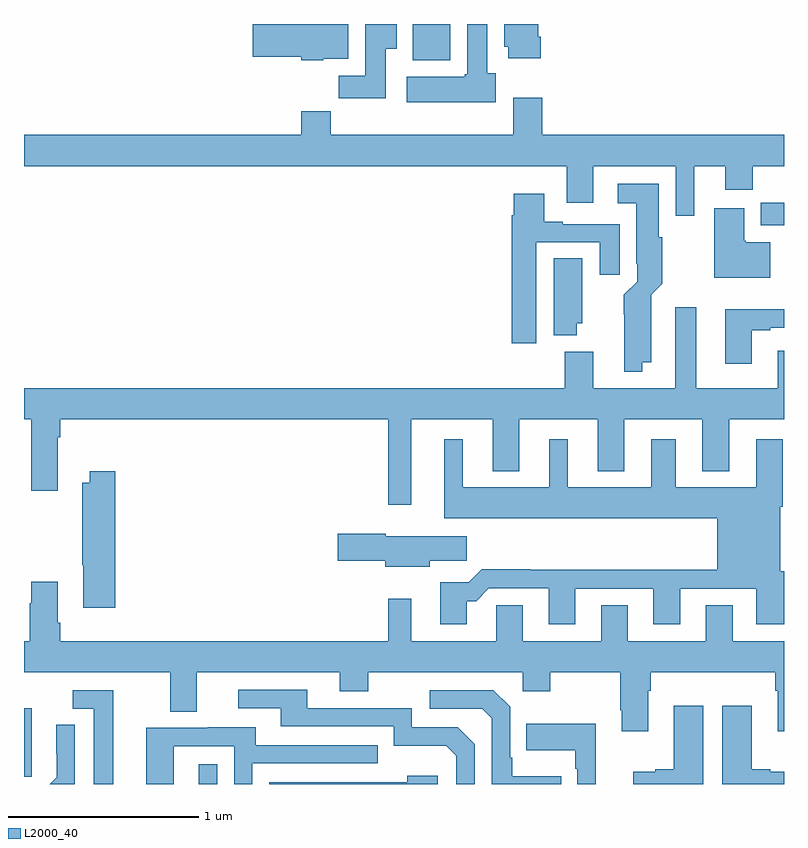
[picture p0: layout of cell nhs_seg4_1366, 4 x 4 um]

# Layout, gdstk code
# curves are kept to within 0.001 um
import gdstk
lib = gdstk.Library(unit=1e-6, precision=1e-09)
def R(c, l, rs):  # rectangles x0, y0, x1, y1
    for r in rs: c.add(gdstk.rectangle(r[:2], r[2:], *l))
def P(c, l, *ps):  # polygons
    for p in ps: c.add(gdstk.Polygon(p, *l))
L2000_40 = (2000, 40)

nhs_seg4_1366 = lib.new_cell('nhs_seg4_1366')
R(nhs_seg4_1366, L2000_40, [(181.919,794.9,182.016,795.004), (181,794.937,181.042,795.298), (184.877,797.84,185,797.958), (183.047,798.71,183.244,798.9)])
P(nhs_seg4_1366, L2000_40, [(183.484,798.642),(183.439,798.642),(183.439,798.9),(183.332,798.9),(183.332,798.636),(183.319,798.636),(183.319,798.622),(183.015,798.622),(183.015,798.488),(183.484,798.488)],
  [(182.905,798.769),(182.962,798.769),(182.962,798.9),(182.795,798.9),(182.795,798.628),(182.656,798.628),(182.656,798.51),(182.905,798.51)],
  [(183.719,798.832),(183.706,798.832),(183.706,798.9),(183.527,798.9),(183.527,798.78),(183.548,798.78),(183.548,798.72),(183.719,798.72)],
  [(182.574,798.716),(182.707,798.716),(182.707,798.9),(182.204,798.9),(182.204,798.728),(182.46,798.728),(182.46,798.71),(182.574,798.71)],
  [(184.528,798.152),(184.691,798.152),(184.691,798.028),(184.835,798.028),(184.835,798.152),(185,798.152),(185,798.316),(183.728,798.316),(183.728,798.511),(183.575,798.511),(183.575,798.316),(182.615,798.316),(182.615,798.44),(182.459,798.44),(182.459,798.316),(181,798.316),(181,798.152),(183.857,798.152),(183.857,797.958),(183.997,797.958),(183.997,798.152),(184.431,798.152),(184.431,797.892),(184.528,797.892)],
  [(184.255,797.12),(184.3,797.12),(184.301,797.474),(184.36,797.533),(184.36,797.778),(184.342,797.778),(184.342,798.058),(184.125,798.058),(184.125,797.957),(184.223,797.957),(184.223,797.638),(184.227,797.638),(184.227,797.544),(184.157,797.474),(184.158,797.069),(184.255,797.069)],
  [(183.697,797.751),(184.031,797.751),(184.031,797.58),(184.135,797.58),(184.135,797.847),(183.835,797.847),(183.835,797.86),(183.739,797.86),(183.739,798.007),(183.578,798.007),(183.578,797.894),(183.566,797.894),(183.566,797.22),(183.697,797.22)],
  [(184.927,797.752),(184.798,797.752),(184.798,797.758),(184.792,797.758),(184.792,797.929),(184.634,797.929),(184.634,797.564),(184.927,797.564)],
  [(183.91,797.325),(183.937,797.325),(183.937,797.666),(183.788,797.666),(183.788,797.261),(183.91,797.261)],
  [(184.537,797.41),(184.427,797.41),(184.427,796.984),(183.997,796.984),(183.997,797.176),(183.845,797.176),(183.845,796.984),(181,796.984),(181,796.82),(181.037,796.82),(181.037,796.443),(181.177,796.443),(181.177,796.724),(181.19,796.724),(181.19,796.82),(182.916,796.82),(182.916,796.371),(183.037,796.371),(183.037,796.82),(183.467,796.82),(183.467,796.547),(183.607,796.547),(183.607,796.82),(184.019,796.82),(184.019,796.547),(184.159,796.547),(184.159,796.82),(184.571,796.82),(184.571,796.547),(184.711,796.547),(184.711,796.82),(185,796.82),(185,797.179),(184.967,797.179),(184.967,796.984),(184.537,796.984)],
  [(184.831,797.289),(184.927,797.289),(184.927,797.301),(185,797.301),(185,797.398),(184.691,797.398),(184.691,797.112),(184.831,797.112)],
  [(183.331,795.863),(183.38,795.863),(183.447,795.93),(183.761,795.93),(183.761,795.741),(183.901,795.741),(183.901,795.927),(184.313,795.927),(184.313,795.741),(184.453,795.741),(184.453,795.927),(184.853,795.927),(184.853,795.741),(185,795.741),(185,796.02),(184.981,796.02),(184.981,796.358),(184.994,796.358),(184.994,796.714),(184.853,796.714),(184.853,796.462),(184.429,796.462),(184.429,796.714),(184.301,796.714),(184.301,796.462),(183.862,796.462),(183.862,796.714),(183.764,796.714),(183.764,796.462),(183.31,796.462),(183.31,796.714),(183.212,796.714),(183.212,796.298),(184.649,796.298),(184.649,796.028),(183.665,796.028),(183.665,796.031),(183.41,796.031),(183.34,795.961),(183.191,795.961),(183.191,795.741),(183.331,795.741)],
  [(181.481,796.546),(181.346,796.546),(181.346,796.486),(181.306,796.486),(181.306,796.051),(181.313,796.051),(181.313,795.828),(181.481,795.828)],
  [(183.136,796.075),(183.331,796.075),(183.331,796.204),(182.904,796.204),(182.904,796.217),(182.652,796.217),(182.652,796.075),(182.9,796.075),(182.9,796.043),(183.136,796.043)],
  [(184.285,795.392),(184.298,795.392),(184.298,795.488),(184.955,795.488),(184.955,795.392),(184.967,795.392),(184.967,795.177),(185,795.177),(185,795.652),(184.729,795.652),(184.729,795.842),(184.589,795.842),(184.589,795.652),(184.177,795.652),(184.177,795.842),(184.037,795.842),(184.037,795.652),(183.625,795.652),(183.625,795.842),(183.486,795.842),(183.486,795.652),(183.037,795.652),(183.037,795.874),(182.916,795.874),(182.916,795.652),(181.19,795.652),(181.19,795.748),(181.177,795.748),(181.177,795.964),(181.037,795.964),(181.037,795.851),(181.03,795.851),(181.03,795.652),(181,795.652),(181,795.488),(181.769,795.488),(181.769,795.28),(181.909,795.28),(181.909,795.488),(182.663,795.488),(182.663,795.389),(182.811,795.389),(182.811,795.488),(183.624,795.488),(183.624,795.389),(183.771,795.389),(183.771,795.488),(184.138,795.488),(184.138,795.289),(184.145,795.289),(184.145,795.177),(184.285,795.177)],
  [(183.372,795.108),(183.282,795.198),(183.042,795.198),(183.042,795.3),(182.491,795.3),(182.491,795.396),(182.127,795.396),(182.127,795.3),(182.351,795.3),(182.351,795.204),(182.946,795.204),(182.946,795.101),(183.223,795.101),(183.276,795.048),(183.276,794.9),(183.372,794.9)],
  [(183.827,794.941),(183.571,794.941),(183.571,795.037),(183.558,795.037),(183.558,795.306),(183.471,795.393),(183.135,795.393),(183.135,795.297),(183.411,795.297),(183.462,795.246),(183.462,794.9),(183.827,794.9)],
  [(181.471,795.393),(181.257,795.393),(181.257,795.297),(181.367,795.297),(181.367,794.9),(181.471,794.9)],
  [(184.576,795.313),(184.421,795.313),(184.421,794.978),(184.322,794.978),(184.322,794.965),(184.206,794.965),(184.206,794.9),(184.576,794.9)],
  [(185,794.965),(184.927,794.965),(184.927,794.978),(184.831,794.978),(184.831,795.313),(184.676,795.313),(184.676,794.9),(185,794.9)],
  [(184.01,795.217),(183.643,795.217),(183.643,795.077),(183.9,795.077),(183.9,794.981),(183.912,794.981),(183.912,794.9),(184.01,794.9)],
  [(181.266,795.212),(181.17,795.212),(181.17,795.058),(181.172,795.058),(181.172,794.936),(181.136,794.9),(181.266,794.9)],
  [(181.788,795.099),(182.106,795.099),(182.106,794.9),(182.202,794.9),(182.202,795.009),(182.861,795.009),(182.861,795.105),(182.221,795.105),(182.221,795.199),(181.967,795.199),(181.967,795.195),(181.643,795.195),(181.643,794.9),(181.788,794.9)],
  [(183.178,794.944),(183.017,794.944),(183.017,794.91),(182.292,794.91),(182.292,794.9),(183.178,794.9)])

lib.write_gds('nhs_seg4_1366.gds')
